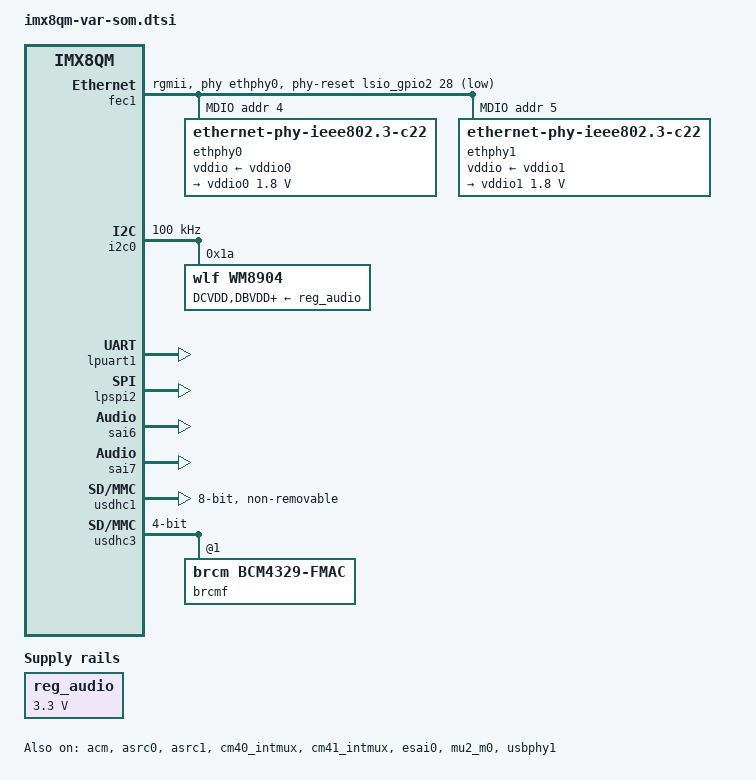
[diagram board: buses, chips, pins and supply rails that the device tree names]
/*
 * Copyright (C) 2016 Freescale Semiconductor, Inc.
 * Copyright 2017 NXP
 * Copyright 2019-2022 Variscite Ltd.
 *
 * This program is free software; you can redistribute it and/or
 * modify it under the terms of the GNU General Public License
 * as published by the Free Software Foundation; either version 2
 * of the License, or (at your option) any later version.
 *
 * This program is distributed in the hope that it will be useful,
 * but WITHOUT ANY WARRANTY; without even the implied warranty of
 * MERCHANTABILITY or FITNESS FOR A PARTICULAR PURPOSE.  See the
 * GNU General Public License for more details.
 */

#include <dt-bindings/usb/pd.h>

/ {
	compatible = "fsl,imx8qm-var-som", "fsl,imx8qm";

	aliases {
		gpio0 = &lsio_gpio0;
		gpio1 = &lsio_gpio1;
		gpio2 = &lsio_gpio2;
		gpio3 = &lsio_gpio3;
		gpio4 = &lsio_gpio4;
		gpio5 = &lsio_gpio5;
		gpio6 = &lsio_gpio6;
		gpio7 = &lsio_gpio7;
		gpio8 = &pca9534;
		i2c0  = &i2c0;
		i2c1  = &i2c1;
		i2c2  = &i2c2;
		i2c3  = &i2c3;
		i2c4  = &i2c4;
	};

	regulators: regulators {
		compatible = "simple-bus";
		#address-cells = <1>;
		#size-cells = <0>;

		reg_audio: audio {
			compatible = "regulator-fixed";
			regulator-name = "wm8904_supply";
			regulator-min-microvolt = <3300000>;
			regulator-max-microvolt = <3300000>;
			regulator-always-on;
		};
	};

	reserved-memory {
		#address-cells = <2>;
		#size-cells = <2>;
		ranges;

		gpu_reserved: gpu_reserved@0x8800000000 {
			no-map;
			reg = <0x8 0x80000000 0 0x10000000>;
		};
		decoder_boot: decoder_boot@0x84000000 {
			no-map;
			reg = <0 0x84000000 0 0x2000000>;
		};
		encoder_boot: encoder_boot@0x86000000 {
			no-map;
			reg = <0 0x86000000 0 0x400000>;
		};
		decoder_rpc: decoder_rpc@0x92000000 {
			no-map;
			reg = <0 0x92000000 0 0x200000>;
		};
		encoder_rpc: encoder_rpc@0x92200000 {
			no-map;
			reg = <0 0x92200000 0 0x200000>;
		};
		dsp_reserved: dsp@92400000 {
			reg = <0 0x92400000 0 0x1000000>;
			no-map;
		};
		dsp_reserved_heap: dsp_reserved_heap {
			reg = <0 0x93400000 0 0xef0000>;
			no-map;
		};
		dsp_vdev0vring0: vdev0vring0@942f0000 {
			reg = <0 0x942f0000 0 0x8000>;
			no-map;
		};
		dsp_vdev0vring1: vdev0vring1@942f8000 {
			reg = <0 0x942f8000 0 0x8000>;
			no-map;
		};
		dsp_vdev0buffer: vdev0buffer@94300000 {
			compatible = "shared-dma-pool";
			reg = <0 0x94300000 0 0x100000>;
			no-map;
		};
		encoder_reserved: encoder_reserved@0x94400000 {
			no-map;
			reg = <0 0x94400000 0 0x800000>;
		};
		/* global autoconfigured region for contiguous allocations */
		linux,cma {
			compatible = "shared-dma-pool";
			reusable;
			size = <0 0x3c000000>;
			alloc-ranges = <0 0xc0000000 0 0x3c000000>;
			linux,cma-default;
		};

	};

	sound-wm8904 {
		compatible = "fsl,imx-audio-wm8904";
		model = "wm8904-audio";
		audio-codec = <&wm8904>;
		audio-cpu = <&esai0>;
		audio-routing =
			"Headphone Jack", "HPOUTL",
			"Headphone Jack", "HPOUTR",
			"IN2L", "Line In Jack",
			"IN2R", "Line In Jack",
			"IN1L", "Mic Jack",
			"Playback", "CPU-Playback",
			"CPU-Capture", "Capture";
		status = "okay";
	};
};

&acm {
	status = "okay";
};

&asrc0 {
	assigned-clock-rates = <786432000>, <49152000>, <24576000>;
	fsl,asrc-rate  = <48000>;
	status = "okay";
};

&asrc1 {
	assigned-clock-rates = <786432000>, <49152000>, <24576000>;
	fsl,asrc-rate = <48000>;
	status = "okay";
};

&cm40_intmux {
	status = "okay";
};

&cm41_intmux {
	status = "okay";
};

&esai0 {
	pinctrl-names = "default";
	pinctrl-0 = <&pinctrl_esai0>;
	#sound-dai-cells = <0>;
	assigned-clocks = <&acm IMX_ADMA_ACM_ESAI0_MCLK_SEL>,
			<&clk IMX_SC_R_AUDIO_PLL_0 IMX_SC_PM_CLK_PLL>,
			<&clk IMX_SC_R_AUDIO_PLL_0 IMX_SC_PM_CLK_SLV_BUS>,
			<&clk IMX_SC_R_AUDIO_PLL_0 IMX_SC_PM_CLK_MST_BUS>,
			<&esai0_lpcg 0>;
	assigned-clock-parents = <&aud_pll_div0_lpcg 0>;
	assigned-clock-rates = <0>, <786432000>, <49152000>, <24576000>, <49152000>;
	status = "okay";
};

&fec1 {
	pinctrl-names = "default";
	pinctrl-0 = <&pinctrl_fec1>;
	fsl,magic-packet;
	phy-reset-gpios = <&lsio_gpio2 28 GPIO_ACTIVE_LOW>;
	phy-reset-duration = <10>;
	phy-reset-post-delay = <20>;
	phy-mode = "rgmii";
	phy-handle = <&ethphy0>;
	status = "okay";

	mdio:mdio {
		#address-cells = <1>;
		#size-cells = <0>;

		ethphy0: ethernet-phy@4 {
			compatible = "ethernet-phy-ieee802.3-c22";
			reg = <4>;
			qca,disable-smarteee;
			vddio-supply = <&vddio0>;

			vddio0: vddio-regulator {
				regulator-min-microvolt = <1800000>;
				regulator-max-microvolt = <1800000>;
			};
		};

		ethphy1: ethernet-phy@5 {
			compatible = "ethernet-phy-ieee802.3-c22";
			reg = <5>;
			qca,disable-smarteee;
			vddio-supply = <&vddio1>;
			adi,phy-mode-override = "rgmii";

			vddio1: vddio-regulator {
				regulator-min-microvolt = <1800000>;
				regulator-max-microvolt = <1800000>;
			};
		};
	};
};


&i2c0 {
	#address-cells = <1>;
	#size-cells = <0>;
	pinctrl-names = "default";
	pinctrl-0 = <&pinctrl_i2c0>;
	clock-frequency = <100000>;
	status = "okay";

	wm8904: codec@1a {
		compatible = "wlf,wm8904";
		#sound-dai-cells = <0>;
		reg = <0x1a>;
		clocks = <&mclkout0_lpcg 0>;
		clock-names = "mclk";
		wlf,shared-lrclk;
		assigned-clocks = <&clk IMX_SC_R_AUDIO_PLL_0 IMX_SC_PM_CLK_PLL>,
				<&clk IMX_SC_R_AUDIO_PLL_0 IMX_SC_PM_CLK_SLV_BUS>,
				<&clk IMX_SC_R_AUDIO_PLL_0 IMX_SC_PM_CLK_MST_BUS>,
				<&mclkout0_lpcg 0>;
		assigned-clock-rates = <786432000>, <49152000>, <12288000>, <12288000>;

		DCVDD-supply = <&reg_audio>;
		DBVDD-supply = <&reg_audio>;
		AVDD-supply = <&reg_audio>;
		CPVDD-supply = <&reg_audio>;
		MICVDD-supply = <&reg_audio>;
		num-drc-cfgs = <5>;
		drc-cfg-names = "default", "peaklimiter", "tradition", "soft", "music";
		drc-cfg-regs =
				/* coded default: KNEE_IP = KNEE_OP = 0, HI_COMP = LO_COMP = 1  */
				<0x01af 0x3248 0x0000 0x0000>,
				/* coded default: KNEE_IP = -24, KNEE_OP = -6, HI_COMP = 1/4, LO_COMP = 1 */
				<0x04af 0x324b 0x0010 0x0408>,
				/* coded default: KNEE_IP = -42, KNEE_OP = -3, HI_COMP = 0, LO_COMP = 1 */
				<0x04af 0x324b 0x0028 0x0704>,
				/* coded default: KNEE_IP = -45, KNEE_OP = -9, HI_COMP = 1/8, LO_COMP = 1 */
				<0x04af 0x324b 0x0018 0x078c>,
				/* coded default: KNEE_IP = -30, KNEE_OP = -10.5, HI_COMP = 1/4, LO_COMP = 1 */
				<0x04af 0x324b 0x0010 0x050e>;
		gpio-cfg = <
			0x0018 /* GPIO1 => DMIC_CLK */
			0xffff /* GPIO2 => don't touch */
			0xffff /* GPIO3 => don't touch */
			0xffff /* GPIO4 => don't touch */
		>;
		status = "okay";
	};
};

&iomuxc {
	pinctrl-names = "default";
	pinctrl-0 = <&pinctrl_hog>;

	imx8qm-var-som {
		pinctrl_hog: hoggrp {
			fsl,pins = <
				IMX8QM_ESAI1_FSR_LSIO_GPIO2_IO04			0x00000041
				IMX8QM_ESAI1_FST_LSIO_GPIO2_IO05			0x00000041
				IMX8QM_ESAI1_SCKR_LSIO_GPIO2_IO06			0x00000041
				IMX8QM_ESAI1_SCKT_LSIO_GPIO2_IO07			0x00000041
				IMX8QM_SPDIF0_EXT_CLK_LSIO_GPIO2_IO16			0x00000041
			>;
		};

		pinctrl_esai0: esai0grp {
			fsl,pins = <
				IMX8QM_ESAI0_FSR_AUD_ESAI0_FSR				0xc6000040
				IMX8QM_ESAI0_FST_AUD_ESAI0_FST				0xc6000040
				IMX8QM_ESAI0_SCKR_AUD_ESAI0_SCKR			0xc6000040
				IMX8QM_ESAI0_SCKT_AUD_ESAI0_SCKT			0xc6000040
				IMX8QM_ESAI0_TX0_AUD_ESAI0_TX0				0xc6000040
				IMX8QM_ESAI0_TX5_RX0_AUD_ESAI0_TX5_RX0			0xc6000040
				IMX8QM_MCLK_OUT0_AUD_ESAI0_TX_HF_CLK			0xc600004c
			>;
		};

		pinctrl_fec1: fec1grp {
			fsl,pins = <
				IMX8QM_ENET0_MDC_CONN_ENET0_MDC				0x06000048
				IMX8QM_ENET0_MDIO_CONN_ENET0_MDIO			0x06000048
				IMX8QM_ENET0_RGMII_TX_CTL_CONN_ENET0_RGMII_TX_CTL	0x06000048
				IMX8QM_ENET0_RGMII_TXC_CONN_ENET0_RGMII_TXC		0x06000048
				IMX8QM_ENET0_RGMII_TXD0_CONN_ENET0_RGMII_TXD0		0x06000048
				IMX8QM_ENET0_RGMII_TXD1_CONN_ENET0_RGMII_TXD1		0x06000048
				IMX8QM_ENET0_RGMII_TXD2_CONN_ENET0_RGMII_TXD2		0x06000048
				IMX8QM_ENET0_RGMII_TXD3_CONN_ENET0_RGMII_TXD3		0x06000048
				IMX8QM_ENET0_RGMII_RXC_CONN_ENET0_RGMII_RXC		0x06000048
				IMX8QM_ENET0_RGMII_RX_CTL_CONN_ENET0_RGMII_RX_CTL	0x06000048
				IMX8QM_ENET0_RGMII_RXD0_CONN_ENET0_RGMII_RXD0		0x06000048
				IMX8QM_ENET0_RGMII_RXD1_CONN_ENET0_RGMII_RXD1		0x06000048
				IMX8QM_ENET0_RGMII_RXD2_CONN_ENET0_RGMII_RXD2		0x06000048
				IMX8QM_ENET0_RGMII_RXD3_CONN_ENET0_RGMII_RXD3		0x06000048
				IMX8QM_ESAI0_TX2_RX3_LSIO_GPIO2_IO28			0x06000048
				IMX8QM_ESAI0_TX4_RX1_LSIO_GPIO2_IO30			0x06000048
			>;
		};

		pinctrl_i2c0: i2c0grp {
			fsl,pins = <
				IMX8QM_HDMI_TX0_TS_SCL_DMA_I2C0_SCL			0xc6000020
				IMX8QM_HDMI_TX0_TS_SDA_DMA_I2C0_SDA			0xc6000020
			>;
		};

		pinctrl_lpuart1: lpuart1grp {
			fsl,pins = <
				IMX8QM_UART1_RX_DMA_UART1_RX				0x06000020
				IMX8QM_UART1_TX_DMA_UART1_TX				0x06000020
				IMX8QM_UART1_CTS_B_DMA_UART1_RTS_B			0x06000020
				IMX8QM_UART1_RTS_B_DMA_UART1_CTS_B			0x06000020
			>;
		};

		pinctrl_lpspi2: lpspi2grp {
			fsl,pins = <
				IMX8QM_SPI2_SCK_DMA_SPI2_SCK				0x0600004c
				IMX8QM_SPI2_SDO_DMA_SPI2_SDO				0x0600004c
				IMX8QM_SPI2_SDI_DMA_SPI2_SDI				0x0600004c
			>;
		};

		pinctrl_lpspi2_cs: lpspi2cs {
			fsl,pins = <
				IMX8QM_SPI2_CS0_LSIO_GPIO3_IO10				0x00000021
			>;
		};

		pinctrl_restouch: restouchgrp {
			fsl,pins = <
				IMX8QM_ESAI1_TX5_RX0_LSIO_GPIO2_IO13			0x06000020
			>;
		};

		pinctrl_usdhc1: usdhc1grp {
			fsl,pins = <
				IMX8QM_EMMC0_CLK_CONN_EMMC0_CLK				0x06000041
				IMX8QM_EMMC0_CMD_CONN_EMMC0_CMD				0x00000021
				IMX8QM_EMMC0_DATA0_CONN_EMMC0_DATA0			0x00000021
				IMX8QM_EMMC0_DATA1_CONN_EMMC0_DATA1			0x00000021
				IMX8QM_EMMC0_DATA2_CONN_EMMC0_DATA2			0x00000021
				IMX8QM_EMMC0_DATA3_CONN_EMMC0_DATA3			0x00000021
				IMX8QM_EMMC0_DATA4_CONN_EMMC0_DATA4			0x00000021
				IMX8QM_EMMC0_DATA5_CONN_EMMC0_DATA5			0x00000021
				IMX8QM_EMMC0_DATA6_CONN_EMMC0_DATA6			0x00000021
				IMX8QM_EMMC0_DATA7_CONN_EMMC0_DATA7			0x00000021
				IMX8QM_EMMC0_STROBE_CONN_EMMC0_STROBE			0x06000041
				IMX8QM_EMMC0_RESET_B_CONN_EMMC0_RESET_B			0x00000021
			>;
		};

		pinctrl_usdhc1_100mhz: usdhc1grp100mhz {
			fsl,pins = <
				IMX8QM_EMMC0_CLK_CONN_EMMC0_CLK				0x06000040
				IMX8QM_EMMC0_CMD_CONN_EMMC0_CMD				0x00000020
				IMX8QM_EMMC0_DATA0_CONN_EMMC0_DATA0			0x00000020
				IMX8QM_EMMC0_DATA1_CONN_EMMC0_DATA1			0x00000020
				IMX8QM_EMMC0_DATA2_CONN_EMMC0_DATA2			0x00000020
				IMX8QM_EMMC0_DATA3_CONN_EMMC0_DATA3			0x00000020
				IMX8QM_EMMC0_DATA4_CONN_EMMC0_DATA4			0x00000020
				IMX8QM_EMMC0_DATA5_CONN_EMMC0_DATA5			0x00000020
				IMX8QM_EMMC0_DATA6_CONN_EMMC0_DATA6			0x00000020
				IMX8QM_EMMC0_DATA7_CONN_EMMC0_DATA7			0x00000020
				IMX8QM_EMMC0_STROBE_CONN_EMMC0_STROBE			0x06000040
				IMX8QM_EMMC0_RESET_B_CONN_EMMC0_RESET_B			0x00000020
			>;
		};

		pinctrl_usdhc1_200mhz: usdhc1grp200mhz {
			fsl,pins = <
				IMX8QM_EMMC0_CLK_CONN_EMMC0_CLK				0x06000040
				IMX8QM_EMMC0_CMD_CONN_EMMC0_CMD				0x00000020
				IMX8QM_EMMC0_DATA0_CONN_EMMC0_DATA0			0x00000020
				IMX8QM_EMMC0_DATA1_CONN_EMMC0_DATA1			0x00000020
				IMX8QM_EMMC0_DATA2_CONN_EMMC0_DATA2			0x00000020
				IMX8QM_EMMC0_DATA3_CONN_EMMC0_DATA3			0x00000020
				IMX8QM_EMMC0_DATA4_CONN_EMMC0_DATA4			0x00000020
				IMX8QM_EMMC0_DATA5_CONN_EMMC0_DATA5			0x00000020
				IMX8QM_EMMC0_DATA6_CONN_EMMC0_DATA6			0x00000020
				IMX8QM_EMMC0_DATA7_CONN_EMMC0_DATA7			0x00000020
				IMX8QM_EMMC0_STROBE_CONN_EMMC0_STROBE			0x06000040
				IMX8QM_EMMC0_RESET_B_CONN_EMMC0_RESET_B			0x00000020
			>;
		};

		pinctrl_usdhc3: usdhc3grp {
			fsl,pins = <
				IMX8QM_USDHC2_CLK_CONN_USDHC2_CLK			0x06000041
				IMX8QM_USDHC2_CMD_CONN_USDHC2_CMD			0x00000021
				IMX8QM_USDHC2_DATA0_CONN_USDHC2_DATA0			0x00000021
				IMX8QM_USDHC2_DATA1_CONN_USDHC2_DATA1			0x00000021
				IMX8QM_USDHC2_DATA2_CONN_USDHC2_DATA2			0x00000021
				IMX8QM_USDHC2_DATA3_CONN_USDHC2_DATA3			0x00000021
			>;
		};

		pinctrl_usdhc3_100mhz: usdhc3grp100mhz {
			fsl,pins = <
				IMX8QM_USDHC2_CLK_CONN_USDHC2_CLK			0x06000040
				IMX8QM_USDHC2_CMD_CONN_USDHC2_CMD			0x00000020
				IMX8QM_USDHC2_DATA0_CONN_USDHC2_DATA0			0x00000020
				IMX8QM_USDHC2_DATA1_CONN_USDHC2_DATA1			0x00000020
				IMX8QM_USDHC2_DATA2_CONN_USDHC2_DATA2			0x00000020
				IMX8QM_USDHC2_DATA3_CONN_USDHC2_DATA3			0x00000020
			>;
		};

		pinctrl_usdhc3_200mhz: usdhc3grp200mhz {
			fsl,pins = <
				IMX8QM_USDHC2_CLK_CONN_USDHC2_CLK			0x06000040
				IMX8QM_USDHC2_CMD_CONN_USDHC2_CMD			0x00000020
				IMX8QM_USDHC2_DATA0_CONN_USDHC2_DATA0			0x00000020
				IMX8QM_USDHC2_DATA1_CONN_USDHC2_DATA1			0x00000020
				IMX8QM_USDHC2_DATA2_CONN_USDHC2_DATA2			0x00000020
				IMX8QM_USDHC2_DATA3_CONN_USDHC2_DATA3			0x00000020
			>;
		};

		pinctrl_wifi: wifigrp {
			fsl,pins = <
				IMX8QM_SCU_GPIO0_07_SCU_DSC_RTC_CLOCK_OUTPUT_32K	0xc600004c /* WIFI_32K_CLK */
				IMX8QM_SCU_GPIO0_03_LSIO_GPIO0_IO31			0x06000021 /* WIFI_REG_ON  */
				IMX8QM_SCU_GPIO0_02_LSIO_GPIO0_IO30			0x00000021 /* BT_REG_ON    */
				IMX8QM_QSPI1A_DATA0_LSIO_GPIO4_IO26			0x00000021 /* BT_BUF       */
			>;
		};
	};
};

&lpuart1 { /* BT */
	pinctrl-names = "default";
	pinctrl-0 = <&pinctrl_lpuart1>;
	uart-has-rtscts;
	status = "okay";
};

&lpspi2 {
	#address-cells = <1>;
	#size-cells = <0>;
	fsl,spi-num-chipselects = <1>;
	pinctrl-names = "default";
	pinctrl-0 = <&pinctrl_lpspi2 &pinctrl_lpspi2_cs>;
	cs-gpios = <&lsio_gpio3 10 0>;
	status = "okay";

	/* Resistive touch controller */
	ads7846@0 {
		reg = <0>;
		compatible = "ti,ads7846";
		pinctrl-names = "default";
		pinctrl-0 = <&pinctrl_restouch>;
		interrupt-parent = <&lsio_gpio2>;
		interrupts = <13 0>;
		spi-max-frequency = <1500000>;
		pendown-gpio = <&lsio_gpio2 13 0>;
		ti,x-min = /bits/ 16 <125>;
		ti,x-max = /bits/ 16 <4008>;
		ti,y-min = /bits/ 16 <282>;
		ti,y-max = /bits/ 16 <3864>;
		ti,x-plate-ohms = /bits/ 16 <180>;
		ti,pressure-max = /bits/ 16 <255>;
		ti,debounce-max = /bits/ 16 <10>;
		ti,debounce-tol = /bits/ 16 <3>;
		ti,debounce-rep = /bits/ 16 <1>;
		ti,settle-delay-usec = /bits/ 16 <150>;
		ti,keep-vref-on;
		status = "disabled";
	};
};

&mu_m0{
	interrupts = <GIC_SPI 472 IRQ_TYPE_LEVEL_HIGH>;
};

&mu1_m0{
	interrupts = <GIC_SPI 473 IRQ_TYPE_LEVEL_HIGH>;
};

&mu2_m0{
	interrupts = <GIC_SPI 474 IRQ_TYPE_LEVEL_HIGH>;
	status = "okay";
};

&rtc {
	status = "disabled";
};

&sai6 {
	assigned-clocks = <&acm IMX_ADMA_ACM_SAI6_MCLK_SEL>,
			<&clk IMX_SC_R_AUDIO_PLL_1 IMX_SC_PM_CLK_PLL>,
			<&clk IMX_SC_R_AUDIO_PLL_1 IMX_SC_PM_CLK_SLV_BUS>,
			<&clk IMX_SC_R_AUDIO_PLL_1 IMX_SC_PM_CLK_MST_BUS>,
			<&sai6_lpcg 0>;
	assigned-clock-parents = <&aud_pll_div1_lpcg 0>;
	assigned-clock-rates = <0>, <786432000>, <98304000>, <24576000>, <98304000>;
	fsl,sai-asynchronous;
	fsl,txm-rxs;
	status = "okay";
};

&sai7 {
	assigned-clocks = <&acm IMX_ADMA_ACM_SAI7_MCLK_SEL>,
			<&clk IMX_SC_R_AUDIO_PLL_1 IMX_SC_PM_CLK_PLL>,
			<&clk IMX_SC_R_AUDIO_PLL_1 IMX_SC_PM_CLK_SLV_BUS>,
			<&clk IMX_SC_R_AUDIO_PLL_1 IMX_SC_PM_CLK_MST_BUS>,
			<&sai7_lpcg 0>;
	assigned-clock-parents = <&aud_pll_div1_lpcg 0>;
	assigned-clock-rates = <0>, <786432000>, <98304000>, <24576000>, <98304000>;
	fsl,sai-asynchronous;
	fsl,txm-rxs;
	status = "okay";
};

&thermal_zones {
	pmic-thermal0 {
		polling-delay-passive = <250>;
		polling-delay = <2000>;
		thermal-sensors = <&tsens IMX_SC_R_PMIC_0>;
		trips {
			pmic_alert0: trip0 {
				temperature = <110000>;
				hysteresis = <2000>;
				type = "passive";
			};
			pmic_crit0: trip1 {
				temperature = <125000>;
				hysteresis = <2000>;
				type = "critical";
			};
		};
		cooling-maps {
			map0 {
				trip = <&pmic_alert0>;
				cooling-device =
				<&A53_0 THERMAL_NO_LIMIT THERMAL_NO_LIMIT>,
				<&A53_1 THERMAL_NO_LIMIT THERMAL_NO_LIMIT>,
				<&A53_2 THERMAL_NO_LIMIT THERMAL_NO_LIMIT>,
				<&A53_3 THERMAL_NO_LIMIT THERMAL_NO_LIMIT>,
				<&A72_0 THERMAL_NO_LIMIT THERMAL_NO_LIMIT>,
				<&A72_1 THERMAL_NO_LIMIT THERMAL_NO_LIMIT>;
			};
		};
	};
};

&usdhc1 {
	pinctrl-names = "default", "state_100mhz", "state_200mhz";
	pinctrl-0 = <&pinctrl_usdhc1>;
	pinctrl-1 = <&pinctrl_usdhc1_100mhz>;
	pinctrl-2 = <&pinctrl_usdhc1_200mhz>;
	bus-width = <8>;
	non-removable;
	status = "okay";
};

&usdhc3 {
	#address-cells = <1>;
	#size-cells = <0>;
	pinctrl-names = "default", "state_100mhz", "state_200mhz";
	pinctrl-0 = <&pinctrl_usdhc3>, <&pinctrl_wifi>;
	pinctrl-1 = <&pinctrl_usdhc3_100mhz>, <&pinctrl_wifi>;
	pinctrl-2 = <&pinctrl_usdhc3_200mhz>, <&pinctrl_wifi>;
	bus-width = <4>;
	status = "okay";

	brcmf: bcrmf@1 {
		reg = <1>;
		compatible = "brcm,bcm4329-fmac";
	};
};

&usbphy1 {
	status = "okay";
};

&vpu_decoder {
	compatible = "nxp,imx8qm-b0-vpudec";
	boot-region = <&decoder_boot>;
	rpc-region = <&decoder_rpc>;
	reg-csr = <0x2d080000>;
	core_type = <2>;
	status = "disabled";
};

&vpu_encoder {
	compatible = "nxp,imx8qm-b0-vpuenc";
	boot-region = <&encoder_boot>;
	rpc-region = <&encoder_rpc>;
	reserved-region = <&encoder_reserved>;
	reg-rpc-system = <0x40000000>;
	resolution-max = <1920 1920>;
	power-domains = <&pd IMX_SC_R_VPU_ENC_0>, <&pd IMX_SC_R_VPU_ENC_1>,
			<&pd IMX_SC_R_VPU>;
	power-domain-names = "vpuenc1", "vpuenc2", "vpu";
	mbox-names = "enc1_tx0", "enc1_tx1", "enc1_rx",
		     "enc2_tx0", "enc2_tx1", "enc2_rx";
	mboxes = <&mu1_m0 0 0
		  &mu1_m0 0 1
		  &mu1_m0 1 0
		  &mu2_m0 0 0
		  &mu2_m0 0 1
		  &mu2_m0 1 0>;
	status = "disabled";

	vpu_enc_core0: core0@1020000 {
		compatible = "fsl,imx8-mu1-vpu-m0";
		reg = <0x1020000 0x20000>;
		reg-csr = <0x1090000 0x10000>;
		interrupts = <GIC_SPI 473 IRQ_TYPE_LEVEL_HIGH>;
		fsl,vpu_ap_mu_id = <17>;
		fw-buf-size = <0x200000>;
		rpc-buf-size = <0x80000>;
		print-buf-size = <0x80000>;
	};

	vpu_enc_core1: core1@1040000 {
		compatible = "fsl,imx8-mu2-vpu-m0";
		reg = <0x1040000 0x20000>;
		reg-csr = <0x10A0000 0x10000>;
		interrupts = <GIC_SPI 474 IRQ_TYPE_LEVEL_HIGH>;
		fsl,vpu_ap_mu_id = <18>;
		fw-buf-size = <0x200000>;
		rpc-buf-size = <0x80000>;
		print-buf-size = <0x80000>;
	};
};
